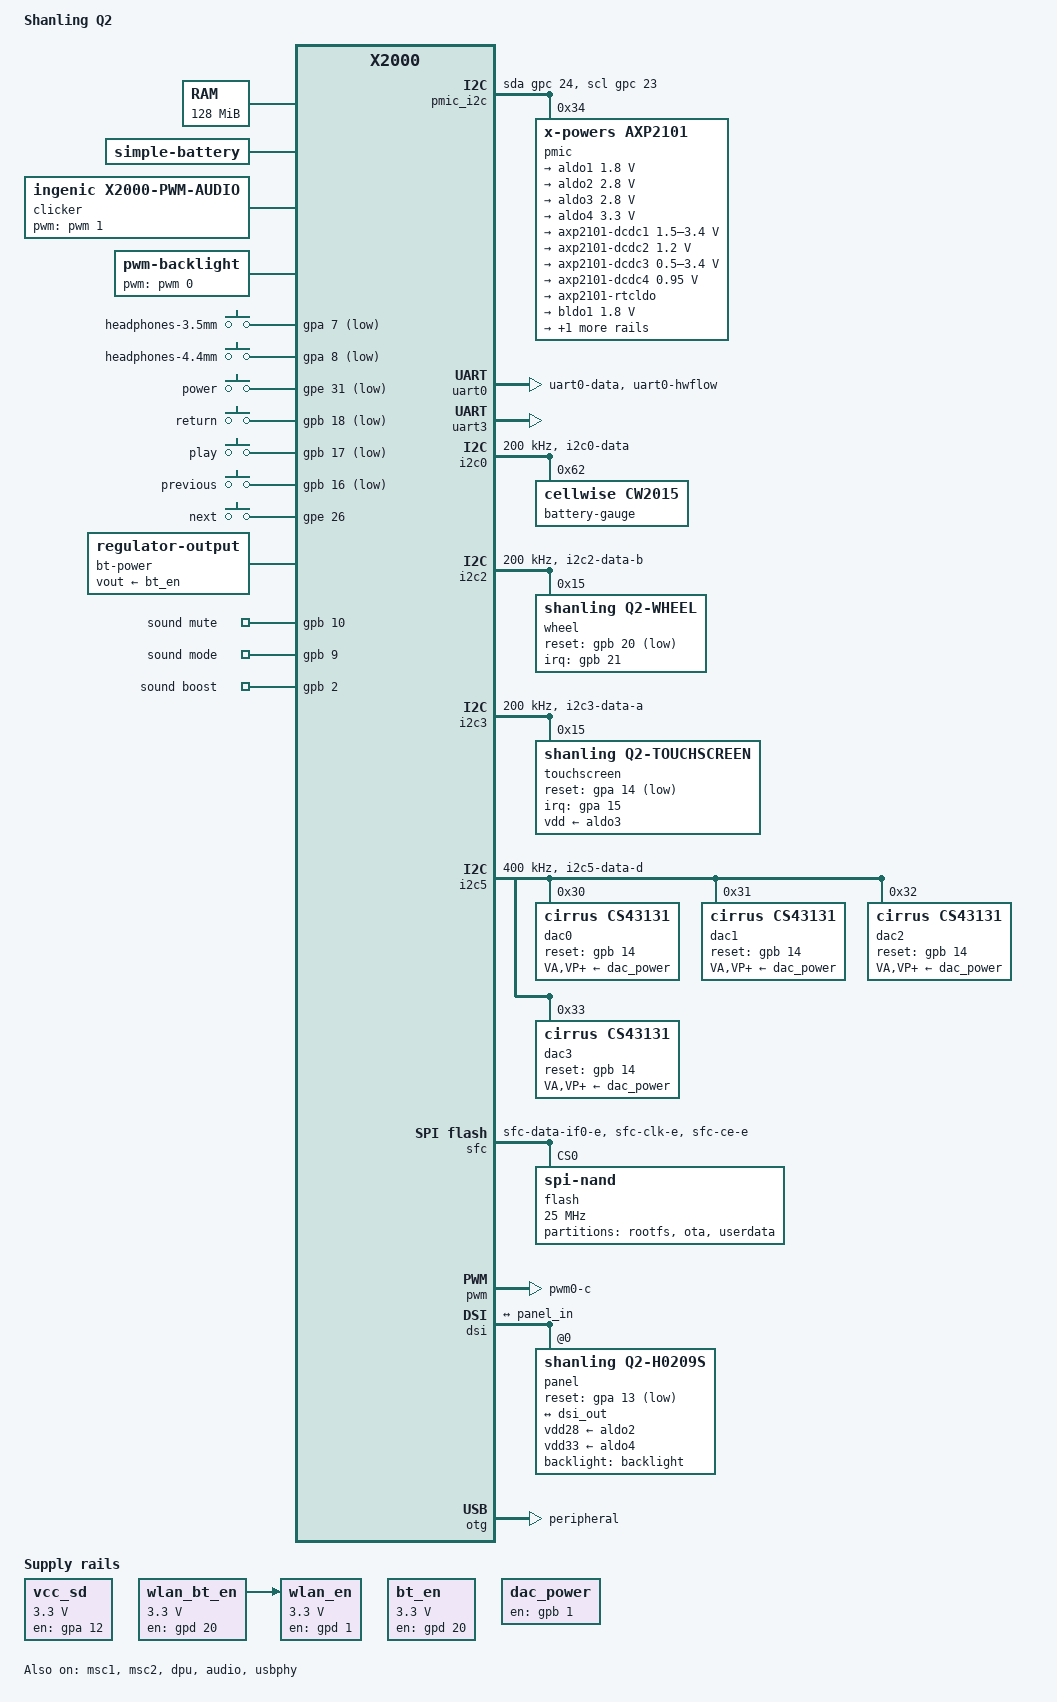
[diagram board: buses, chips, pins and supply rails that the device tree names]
// SPDX-License-Identifier: GPL-2.0
/*
 * Shanling Q2 portable music player (Ingenic X2000, 128 MiB).
 *
 * Board wiring from the stock firmware's device tree and the parameters its
 * board modules are loaded with.
 */
/dts-v1/;

#include "x2000.dtsi"
#include <dt-bindings/gpio/gpio.h>
#include <dt-bindings/input/input.h>
#include <dt-bindings/input/gpio-keys.h>
#include <dt-bindings/interrupt-controller/irq.h>

/ {
	model = "Shanling Q2";
	compatible = "shanling,q2", "ingenic,x2000";

	aliases {
		serial0 = &uart0;
		i2c0 = &i2c0;
		i2c2 = &i2c2;
		i2c3 = &i2c3;
		i2c5 = &i2c5;
		i2c6 = &pmic_i2c;
		mmc0 = &msc2;
		mmc1 = &msc1;
		serial3 = &uart3;
	};

	chosen {
		stdout-path = "serial3:115200n8";
	};

	memory@0 {
		device_type = "memory";
		reg = <0x0 0x8000000>;
	};

	/* Retained only across resets that preserve DDR; not power removal. */
	reserved-memory {
		#address-cells = <1>;
		#size-cells = <1>;
		ranges;

		ramoops@7d00000 {
			compatible = "ramoops";
			reg = <0x07d00000 0x00100000>;
			record-size = <0x00010000>;
			console-size = <0x00040000>;
			pmsg-size = <0x00010000>;
			ecc-size = <16>;
		};
	};

	cpu-scaling {
		compatible = "shanling,q2-cpufreq";
		clocks = <&cgu X2000_CLK_CPU>, <&cgu X2000_CLK_L2CACHE>,
			 <&cgu X2000_CLK_CPUMUX>;
		clock-names = "cpu", "l2", "parent";
	};

	battery: battery {
		compatible = "simple-battery";
		/* Stock pmu_init_chgvol = 4350 mV. */
		constant-charge-voltage-max-microvolt = <4350000>;
		/* Exact stock DT/probe values, corroborated by physical readback. */
		constant-charge-current-max-microamp = <1000000>;
		precharge-current-microamp = <100000>;
		charge-term-current-microamp = <100000>;
	};

	pmic_i2c: i2c-pmic {
		compatible = "i2c-gpio";
		sda-gpios = <&gpc 24 (GPIO_ACTIVE_HIGH | GPIO_OPEN_DRAIN)>;
		scl-gpios = <&gpc 23 (GPIO_ACTIVE_HIGH | GPIO_OPEN_DRAIN)>;
		i2c-gpio,delay-us = <2>;
		#address-cells = <1>;
		#size-cells = <0>;
		pmic: pmic@34 {
			compatible = "x-powers,axp2101";
			reg = <0x34>;
			axp_usb: usb-power-supply {
				compatible = "x-powers,axp2101-usb-power-supply";
			};
			battery-power-supply {
				compatible = "x-powers,axp2101-battery-power-supply";
				monitored-battery = <&battery>;
				power-supplies = <&axp_usb>;
			};
			regulators {
				aldo1: aldo1 {
					/* Required for the combo chip to answer on SDIO. */
					regulator-name = "axp2101-aldo1";
					regulator-min-microvolt = <1800000>;
					regulator-max-microvolt = <1800000>;
					regulator-always-on;
				};
				aldo2: aldo2 {
					regulator-name = "axp2101-aldo2";
					regulator-min-microvolt = <2800000>;
					regulator-max-microvolt = <2800000>;
				};
				aldo3: aldo3 {
					regulator-name = "axp2101-aldo3";
					regulator-min-microvolt = <2800000>;
					regulator-max-microvolt = <2800000>;
				};
				aldo4: aldo4 {
					regulator-name = "axp2101-aldo4";
					regulator-min-microvolt = <3300000>;
					regulator-max-microvolt = <3300000>;
				};
				/* Constraints from the stock Q2 DT, not the R1 board. */
				dcdc1 {
					regulator-name = "axp2101-dcdc1";
					regulator-min-microvolt = <1500000>;
					regulator-max-microvolt = <3400000>;
					regulator-always-on;
				};
				dcdc2 {
					regulator-name = "axp2101-dcdc2";
					regulator-min-microvolt = <1200000>;
					regulator-max-microvolt = <1200000>;
					regulator-always-on;
				};
				dcdc3 {
					regulator-name = "axp2101-dcdc3";
					regulator-min-microvolt = <500000>;
					regulator-max-microvolt = <3400000>;
					regulator-always-on;
				};
				dcdc4 {
					regulator-name = "axp2101-dcdc4";
					regulator-min-microvolt = <950000>;
					regulator-max-microvolt = <950000>;
					regulator-always-on;
				};
				rtcldo {
					regulator-name = "axp2101-rtcldo";
					regulator-always-on;
				};
				bldo1: bldo1 {
					regulator-name = "axp2101-bldo1";
					regulator-min-microvolt = <1800000>;
					regulator-max-microvolt = <1800000>;
					regulator-always-on;
				};
				bldo2: bldo2 {
					regulator-name = "axp2101-bldo2";
					regulator-min-microvolt = <3300000>;
					regulator-max-microvolt = <3300000>;
					regulator-always-on;
				};
			};
		};
	};

	/*
	 * Stock MCU drives PC1/PWM1 with a 2 ms, 50% duty click. Mainline
	 * plays PCM and tones on it with looping PWM DMA.
	 */
	clicker {
		compatible = "ingenic,x2000-pwm-audio";
		pwms = <&pwm 1 361794 0>;
		beeper-hz = <2764>;
		pinctrl-names = "default";
		pinctrl-0 = <&pwm1_pins>;
	};

	backlight: backlight {
		compatible = "pwm-backlight";
		pwms = <&pwm 0 100000 0>;
		/* One distinct PWM level per app percentage; retain the lit minimum. */
		brightness-levels = <
			0 16 18 21 23 26 28 30 33 35 38 40
			43 45 47 50 52 55 57 59 62 64 67 69
			72 74 76 79 81 84 86 88 91 93 96 98
			100 103 105 108 110 113 115 117 120 122 125 127
			129 132 134 137 139 142 144 146 149 151 154 156
			158 161 163 166 168 171 173 175 178 180 183 185
			187 190 192 195 197 199 202 204 207 209 212 214
			216 219 221 224 226 228 231 233 236 238 241 243
			245 248 250 253 255
		>;
		default-brightness-level = <0>;
	};

	keys {
		compatible = "gpio-keys";
		label = "Q2 buttons";
		linux,suspend-input-guard;
		switch-headphones {
			label = "headphones-3.5mm";
			linux,input-type = <EV_SW>;
			linux,code = <SW_HEADPHONE_INSERT>;
			gpios = <&gpa 7 GPIO_ACTIVE_LOW>;
			debounce-interval = <20>;
		};
		switch-lineout {
			label = "headphones-4.4mm";
			linux,input-type = <EV_SW>;
			linux,code = <SW_LINEOUT_INSERT>;
			gpios = <&gpa 8 GPIO_ACTIVE_LOW>;
			debounce-interval = <20>;
		};
		button-power {
			label = "power";
			linux,code = <KEY_POWER>;
			wakeup-source;
			wakeup-event-action = <EV_ACT_ASSERTED>;
			gpios = <&gpe 31 GPIO_ACTIVE_LOW>;
			debounce-interval = <10>;
		};
		button-return {
			label = "return";
			linux,code = <KEY_UP>;
			gpios = <&gpb 18 GPIO_ACTIVE_LOW>;
			debounce-interval = <10>;
		};
		button-play {
			label = "play";
			linux,code = <KEY_DOWN>;
			gpios = <&gpb 17 GPIO_ACTIVE_LOW>;
			debounce-interval = <10>;
		};
		button-previous {
			label = "previous";
			linux,code = <KEY_PREVIOUSSONG>;
			gpios = <&gpb 16 GPIO_ACTIVE_LOW>;
			debounce-interval = <10>;
		};
		button-next {
			label = "next";
			linux,code = <KEY_NEXTSONG>;
			gpios = <&gpe 26 GPIO_ACTIVE_HIGH>;
			debounce-interval = <10>;
		};
	};

	vcc_sd: regulator-sd {
		compatible = "regulator-fixed";
		regulator-name = "vcc-sd";
		regulator-min-microvolt = <3300000>;
		regulator-max-microvolt = <3300000>;
		gpio = <&gpa 12 GPIO_ACTIVE_HIGH>;
		enable-active-high;
	};

	/*
	 * RTL8733BS Wi-Fi/Bluetooth combo on MSC1. The stock rtl8733bs.ko
	 * (rtk_wlan_bt_power_ctrl, rtk_wlan_power_ctrl) drives BT_DIS_N (PD20)
	 * high, waits 10 ms, drives WL_DIS_N (PD01) high, then rescans MSC1;
	 * after dropping WL_DIS_N it waits 100 ms. Both enables are active
	 * high. Model them as a supply chain so the MMC core keeps that order:
	 * enabling the slot supply raises BT_DIS_N first. mmc-pwrseq-simple is
	 * not used: with one reset GPIO it takes a shared reset control and
	 * pulses WL_DIS_N high before every power-up, which stock never does.
	 * A Bluetooth driver can share the BT_DIS_N supply.
	 */
	wifi_pwrseq: wifi-pwrseq {
		compatible = "shanling,q2-wifi-pwrseq";
		aldo1-supply = <&aldo1>;
		bldo1-supply = <&bldo1>;
		bldo2-supply = <&bldo2>;
	};

	wlan_bt_en: regulator-wlan-bt {
		compatible = "regulator-fixed";
		regulator-name = "wlan-bt-en";
		regulator-min-microvolt = <3300000>;
		regulator-max-microvolt = <3300000>;
		gpio = <&gpd 20 GPIO_ACTIVE_HIGH>;
		enable-active-high;
		startup-delay-us = <10000>;
	};

	wlan_en: regulator-wlan {
		compatible = "regulator-fixed";
		regulator-name = "wlan-en";
		regulator-min-microvolt = <3300000>;
		regulator-max-microvolt = <3300000>;
		gpio = <&gpd 1 GPIO_ACTIVE_HIGH>;
		enable-active-high;
		vin-supply = <&wlan_bt_en>;
		off-on-delay-us = <100000>;
	};
};

/ {
	/*
	 * BT_DIS_N (PD20) a second time, for Bluetooth alone. The Wi-Fi slot's
	 * supply chain raises the same line through wlan_bt_en; fixed regulators
	 * share an enable GPIO by reference count, so the line stays high while
	 * either holds it. Userspace holds this one while Bluetooth is on:
	 * echo enabled > /sys/devices/platform/bt-power/state
	 */
	bt_en: regulator-bt {
		compatible = "regulator-fixed";
		regulator-name = "bt-en";
		regulator-min-microvolt = <3300000>;
		regulator-max-microvolt = <3300000>;
		gpio = <&gpd 20 GPIO_ACTIVE_HIGH>;
		enable-active-high;
		startup-delay-us = <10000>;
	};

	bt-power {
		compatible = "regulator-output";
		vout-supply = <&bt_en>;
	};
};

/*
 * The RTL8733BS's Bluetooth HCI: stock runs "rtk_hciattach -s 115200 ttyS0
 * rtk_h5" on UART0 and its configuration file asks for hardware flow
 * control, so all four lines are muxed. q2nd drives the port from userspace.
 */
&uart0 {
	status = "okay";
	pinctrl-names = "default";
	pinctrl-0 = <&uart0_pins>;
};

&pinctrl {
	uart0_pins: uart0-pins {
		function = "uart0";
		groups = "uart0-data", "uart0-hwflow";
	};
};

&uart3 {
	status = "okay";
};

&pinctrl {
	/* Stock ingenic,gpa_voltage=<1>; PA12 enables the 3.3 V card supply. */
	ingenic,gpa-voltage-microvolt = <1800000>;

	sfc_pins: sfc-pins {
		function = "sfc";
		groups = "sfc-data-if0-e", "sfc-clk-e", "sfc-ce-e";
	};
	i2c0_pins: i2c0-pins {
		function = "i2c0";
		groups = "i2c0-data";
	};
	i2c2_pins: i2c2-pins {
		function = "i2c2";
		groups = "i2c2-data-b";
	};
	i2c3_pins: i2c3-pins {
		function = "i2c3";
		groups = "i2c3-data-a";
	};
	i2c5_pins: i2c5-pins {
		function = "i2c5";
		groups = "i2c5-data-d";
	};
	msc1_pins: mmc1-pins {
		function = "mmc1";
		groups = "mmc1-1bit", "mmc1-4bit";
	};
	msc2_pins: mmc2-pins {
		function = "mmc2";
		groups = "mmc2-1bit", "mmc2-4bit";
		bias-pull-up;
	};
	msc2_sleep_pins: mmc2-sleep-pins {
		pins = "PE0", "PE1", "PE2", "PE3", "PE4", "PE5";
		bias-high-impedance;
	};
};

&i2c0 {
	status = "okay";
	pinctrl-names = "default";
	pinctrl-0 = <&i2c0_pins>;
	clock-frequency = <200000>;
	battery-gauge@62 {
		compatible = "cellwise,cw2015";
		power-supplies = <&axp_usb>;
		reg = <0x62>;
	};
};

&i2c2 {
	status = "okay";
	pinctrl-names = "default";
	pinctrl-0 = <&i2c2_pins>;
	clock-frequency = <200000>;
	wheel@15 {
		compatible = "shanling,q2-wheel";
		linux,suspend-input-guard;
		reg = <0x15>;
		interrupt-parent = <&gpb>;
		interrupts = <21 IRQ_TYPE_EDGE_FALLING>;
		reset-gpios = <&gpb 20 GPIO_ACTIVE_LOW>;
	};
};

&i2c3 {
	status = "okay";
	pinctrl-names = "default";
	pinctrl-0 = <&i2c3_pins>;
	clock-frequency = <200000>;

	touchscreen@15 {
		compatible = "shanling,q2-touchscreen";
		reg = <0x15>;
		interrupt-parent = <&gpa>;
		interrupts = <15 IRQ_TYPE_EDGE_FALLING>;
		reset-gpios = <&gpa 14 GPIO_ACTIVE_LOW>;
		vdd-supply = <&aldo3>;
	};
};

&i2c5 {
	status = "okay";
	pinctrl-names = "default";
	pinctrl-0 = <&i2c5_pins>;
	clock-frequency = <400000>;
};

/* soc_msc.sh: msc1 non-removable, 4-bit SDIO, keep power in suspend. */
&msc1 {
	status = "okay";
	pinctrl-names = "default";
	pinctrl-0 = <&msc1_pins>;
	mmc-pwrseq = <&wifi_pwrseq>;
	vmmc-supply = <&wlan_en>;
	bus-width = <4>;
	non-removable;
	keep-power-in-suspend;
	cap-sd-highspeed;
	no-1-8-v;
	/* Stock allows 100 MHz; start at high speed until hardware tests. */
	max-frequency = <50000000>;
};

&msc2 {
	status = "okay";
	pinctrl-names = "default", "sleep";
	pinctrl-0 = <&msc2_pins>;
	pinctrl-1 = <&msc2_sleep_pins>;
	vmmc-supply = <&vcc_sd>;
	bus-width = <4>;
	broken-cd;
	cap-sd-highspeed;
	no-1-8-v;
	/* Start conservatively; UHS tuning needs hardware validation. */
	max-frequency = <50000000>;
};

&sfc {
	status = "okay";
	pinctrl-names = "default";
	pinctrl-0 = <&sfc_pins>;
	flash@0 {
		compatible = "spi-nand";
		reg = <0>;
		spi-max-frequency = <25000000>;
		spi-rx-bus-width = <4>;
		spi-tx-bus-width = <4>;
		/* Partition discovery remains external: do not guess device layout. */
	};
};

&pwm {
	assigned-clocks = <&cgu X2000_CLK_PWM>;
	assigned-clock-parents = <&cgu X2000_CLK_MPLL>;
	assigned-clock-rates = <50000000>;
	status = "okay";
	pinctrl-names = "default";
	pinctrl-0 = <&pwm0_pins>;
};

&pinctrl {
	pwm1_pins: pwm1-pins {
		function = "pwm1";
		groups = "pwm1-c";
	};
	pwm0_pins: pwm0-pins {
		function = "pwm0";
		groups = "pwm0-c";
	};
};

&dpu { status = "okay"; };
&dsi {
	status = "okay";
	panel@0 {
		compatible = "shanling,q2-h0209s";
		reg = <0>;
		reset-gpios = <&gpa 13 GPIO_ACTIVE_LOW>;
		vdd28-supply = <&aldo2>;
		vdd33-supply = <&aldo4>;
		backlight = <&backlight>;
		port { panel_in: endpoint { remote-endpoint = <&dsi_out>; }; };
	};
	ports {
		port@1 { reg = <1>; dsi_out: endpoint { remote-endpoint = <&panel_in>; }; };
	};
};

/ {
	/* PB1 is the stock DAC enable. Individual downstream rail topology
	 * and voltages remain unqualified; do not invent voltage constraints.
	 */
	dac_power: regulator-dac {
		compatible = "regulator-fixed";
		regulator-name = "dac-power";
		gpio = <&gpb 1 GPIO_ACTIVE_HIGH>;
		enable-active-high;
		startup-delay-us = <50000>;
	};

	sound {
		compatible = "shanling,q2-audio";
		audio-controller = <&audio>;
		audio-codecs = <&dac0>, <&dac1>, <&dac2>, <&dac3>;
		mute-gpios = <&gpb 10 GPIO_ACTIVE_HIGH>;
		mode-gpios = <&gpb 9 GPIO_ACTIVE_HIGH>;
		boost-gpios = <&gpb 2 GPIO_ACTIVE_HIGH>;
	};
};

&pinctrl {
	i2s1_pins: i2s1-pins {
		function = "i2s1";
		groups = "i2s1-data-tx", "i2s1-clk-tx", "i2s1-sysclk-tx";
	};
};

&audio {
	status = "okay";
	pinctrl-names = "default";
	pinctrl-0 = <&i2s1_pins>;
};

&i2c5 {
	dac0: audio-codec@30 {
		compatible = "cirrus,cs43131";
		reg = <0x30>;
		/* Board reset is inverted relative to the IC's RESET pin. */
		reset-gpios = <&gpb 14 GPIO_ACTIVE_HIGH>;
		cirrus,shared-reset;
		VA-supply = <&dac_power>;
		VP-supply = <&dac_power>;
		VL-supply = <&dac_power>;
		VCP-supply = <&dac_power>;
		VD-supply = <&dac_power>;
	};
	dac1: audio-codec@31 {
		compatible = "cirrus,cs43131";
		reg = <0x31>;
		/* Board reset is inverted relative to the IC's RESET pin. */
		reset-gpios = <&gpb 14 GPIO_ACTIVE_HIGH>;
		cirrus,shared-reset;
		VA-supply = <&dac_power>;
		VP-supply = <&dac_power>;
		VL-supply = <&dac_power>;
		VCP-supply = <&dac_power>;
		VD-supply = <&dac_power>;
	};
	dac2: audio-codec@32 {
		compatible = "cirrus,cs43131";
		reg = <0x32>;
		/* Board reset is inverted relative to the IC's RESET pin. */
		reset-gpios = <&gpb 14 GPIO_ACTIVE_HIGH>;
		cirrus,shared-reset;
		VA-supply = <&dac_power>;
		VP-supply = <&dac_power>;
		VL-supply = <&dac_power>;
		VCP-supply = <&dac_power>;
		VD-supply = <&dac_power>;
	};
	dac3: audio-codec@33 {
		compatible = "cirrus,cs43131";
		reg = <0x33>;
		/* Board reset is inverted relative to the IC's RESET pin. */
		reset-gpios = <&gpb 14 GPIO_ACTIVE_HIGH>;
		cirrus,shared-reset;
		VA-supply = <&dac_power>;
		VP-supply = <&dac_power>;
		VL-supply = <&dac_power>;
		VCP-supply = <&dac_power>;
		VD-supply = <&dac_power>;
	};
};

&usbphy {
	status = "okay";
};

&otg {
	status = "okay";
	dr_mode = "peripheral";
};

/* Q2 INSTALL PROFILE */
&pinctrl { install_clk32k: install-clk32k { function = "clk32k"; groups = "clk32k"; }; };
&msc1 { pinctrl-0 = <&msc1_pins &install_clk32k>; };
/ { chosen { bootargs = "console=ttyS3,115200 clk_ignore_unused panic=10 q2.hardware=1 q2.installed=1"; }; };
&sfc { status = "okay"; flash@0 {
    /delete-node/ partitions;
    partitions {
        compatible = "fixed-partitions";
        #address-cells = <1>; #size-cells = <1>;
        partition@700000 { label = "rootfs"; reg = <0x700000 0x4b00000>; read-only; };
        partition@6420000 { label = "ota"; reg = <0x6420000 0x20000>; };
        partition@6440000 { label = "userdata"; reg = <0x6440000 0x18c0000>; };
    };
}; };
